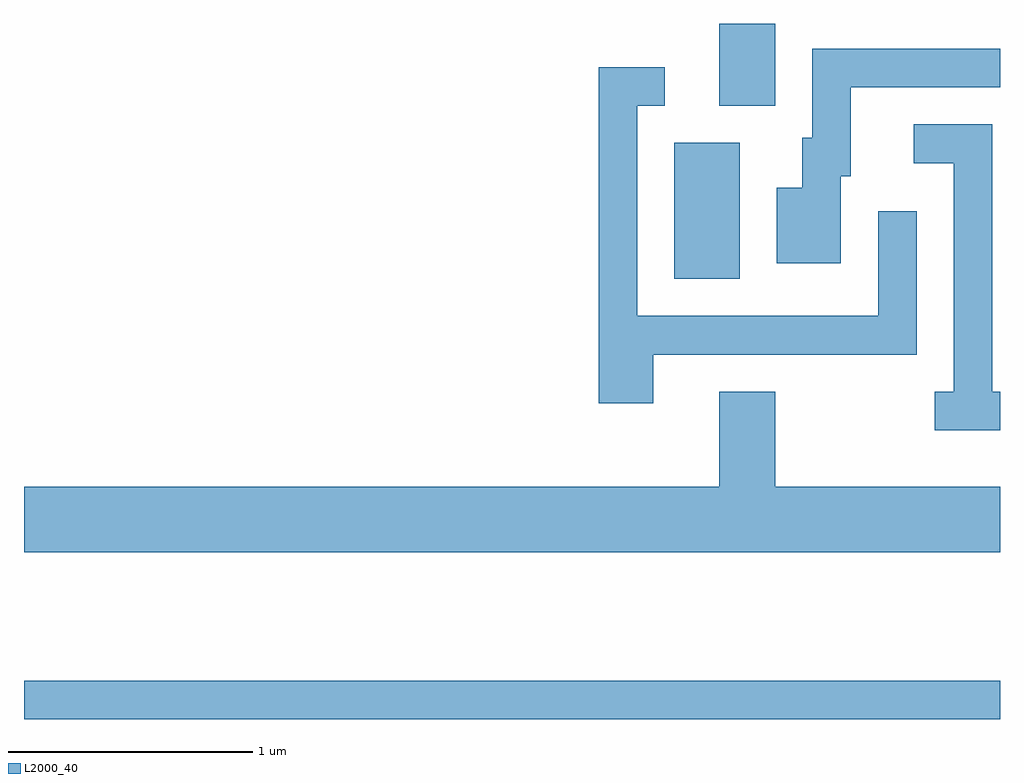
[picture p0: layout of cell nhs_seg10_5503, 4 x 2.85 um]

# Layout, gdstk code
import gdstk
lib = gdstk.Library(unit=1e-6, precision=1e-09)
def R(c, l, rs):  # rectangles x0, y0, x1, y1
    for r in rs: c.add(gdstk.rectangle(r[:2], r[2:], *l))
def P(c, l, *ps):  # polygons
    for p in ps: c.add(gdstk.Polygon(p, *l))
L2000_40 = (2000, 40)

nhs_seg10_5503 = lib.new_cell('nhs_seg10_5503')
R(nhs_seg10_5503, L2000_40, [(347.611,2117.671,351.611,2117.829), (350.276,2119.476,350.544,2120.034), (350.461,2120.186,350.689,2120.522)])
P(nhs_seg10_5503, L2000_40, [(350.959,2119.896),(350.999,2119.896),(350.999,2120.261),(351.611,2120.261),(351.611,2120.419),(350.841,2120.419),(350.841,2120.054),(350.801,2120.054),(350.801,2119.849),(350.696,2119.849),(350.696,2119.541),(350.959,2119.541)],
  [(350.189,2119.166),(351.269,2119.166),(351.269,2119.753),(351.111,2119.753),(351.111,2119.324),(350.124,2119.324),(350.124,2120.186),(350.238,2120.186),(350.238,2120.344),(349.966,2120.344),(349.966,2118.966),(350.189,2118.966)],
  [(351.611,2119.014),(351.579,2119.014),(351.579,2120.109),(351.258,2120.109),(351.258,2119.951),(351.421,2119.951),(351.421,2119.014),(351.343,2119.014),(351.343,2118.856),(351.611,2118.856)],
  [(351.611,2118.624),(350.689,2118.624),(350.689,2119.014),(350.461,2119.014),(350.461,2118.624),(347.611,2118.624),(347.611,2118.356),(351.611,2118.356)])

lib.write_gds('nhs_seg10_5503.gds')
